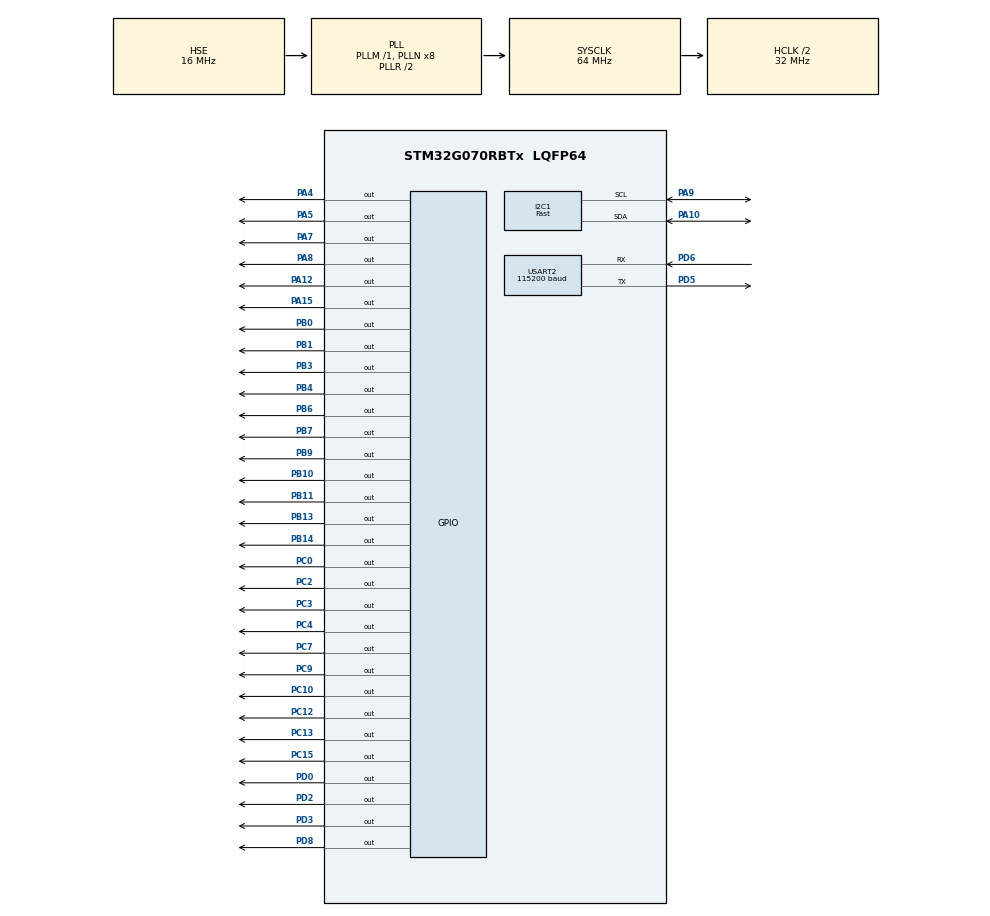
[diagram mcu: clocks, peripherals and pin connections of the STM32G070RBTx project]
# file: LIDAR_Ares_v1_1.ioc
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I2C1.I2C_Speed_Mode=I2C_Fast
I2C1.Timing=0x00300F38
Mcu.Family=STM32G0
Mcu.Name=STM32G070RBTx
Mcu.Package=LQFP64
NVIC.TIM6_IRQn=true\:0\:0\:false\:false\:true\:true\:true\:true
PA10.Mode=I2C
PA10.Signal=I2C1_SDA
PA12\ [PA10].Signal=GPIO_Output
PA15.Signal=GPIO_Output
PA4.Signal=GPIO_Output
PA5.Signal=GPIO_Output
PA7.Signal=GPIO_Output
PA8.Signal=GPIO_Output
PA9.Mode=I2C
PA9.Signal=I2C1_SCL
PB0.Signal=GPIO_Output
PB1.Signal=GPIO_Output
PB10.Signal=GPIO_Output
PB11.Signal=GPIO_Output
PB13.Signal=GPIO_Output
PB14.Signal=GPIO_Output
PB3.Signal=GPIO_Output
PB4.Signal=GPIO_Output
PB6.Signal=GPIO_Output
PB7.Signal=GPIO_Output
PB9.Signal=GPIO_Output
PC0.Signal=GPIO_Output
PC10.Signal=GPIO_Output
PC12.Signal=GPIO_Output
PC13.Signal=GPIO_Output
PC15-OSC32_OUT\ (PC15).Signal=GPIO_Output
PC2.Signal=GPIO_Output
PC3.Signal=GPIO_Output
PC4.Signal=GPIO_Output
PC7.Signal=GPIO_Output
PC9.Signal=GPIO_Output
PD0.Signal=GPIO_Output
PD2.Signal=GPIO_Output
PD3.Signal=GPIO_Output
PD5.Mode=Asynchronous
PD5.Signal=USART2_TX
PD6.Mode=Asynchronous
PD6.Signal=USART2_RX
PD8.Signal=GPIO_Output
PF0-OSC_IN\ (PF0).Mode=HSE-External-Oscillator
PF0-OSC_IN\ (PF0).Signal=RCC_OSC_IN
PF1-OSC_OUT\ (PF1).Mode=HSE-External-Oscillator
PF1-OSC_OUT\ (PF1).Signal=RCC_OSC_OUT
ProjectManager.HeapSize=0x200
ProjectManager.StackSize=0x400
ProjectManager.TargetToolchain=STM32CubeIDE
RCC.ADCFreq_Value=64000000
RCC.AHBCLKDivider=RCC_SYSCLK_DIV2
RCC.AHBFreq_Value=32000000
RCC.CortexFreq_Value=32000000
RCC.EXTERNAL_CLOCK_VALUE=48000
RCC.HCLKFreq_Value=32000000
RCC.HSE_VALUE=16000000
RCC.HSI_VALUE=16000000
RCC.LSE_VALUE=32768
RCC.PLLSourceVirtual=RCC_PLLSOURCE_HSE
RCC.SYSCLKFreq_VALUE=64000000
RCC.SYSCLKSource=RCC_SYSCLKSOURCE_PLLCLK
RCC.VCOOutputFreq_Value=128000000
TIM6.Prescaler=3999
USART2.BaudRate=115200
USART2.DMADisableonRxErrorParam=ADVFEATURE_DMA_DISABLEONRXERROR
USART2.OneBitSampling=UART_ONE_BIT_SAMPLE_DISABLE
USART2.OverrunDisableParam=ADVFEATURE_OVERRUN_DISABLE
USART2.TxPinLevelInvertParam=ADVFEATURE_TXINV_DISABLE
USART2.VirtualMode-Asynchronous=VM_ASYNC
VP_SYS_VS_DBSignals.Mode=DisableDeadBatterySignals
VP_TIM6_VS_ClockSourceINT.Mode=Enable_Timer
board=custom

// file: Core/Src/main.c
/* USER CODE BEGIN Header */
/**
  ******************************************************************************
  * @file           : main.c
  * @brief          : Main program body
  ******************************************************************************
  * @attention
  *
  * Copyright (c) 2023 STMicroelectronics.
  * All rights reserved.
  *
  * This software is licensed under terms that can be found in the LICENSE file
  * in the root directory of this software component.
  * If no LICENSE file comes with this software, it is provided AS-IS.
  *
  ******************************************************************************
  */
/* USER CODE END Header */
#include "main.h"

/* USER CODE BEGIN Includes */
//#include "platform_specific.h"
#include "stm32g0xx.h"
#include <string.h>
#include "VL53L1X_api.h"
#include "math.h"

#include "trameUart.h"
#include "testUART.h"
/* USER CODE END Includes */

 I2C_HandleTypeDef hi2c1;

TIM_HandleTypeDef htim6;

UART_HandleTypeDef huart2;

/* USER CODE BEGIN PV */
uint16_t LEDS[16]= {};

/* ----- UART variables, only useful for Serial communication ----- */

extern char Uart_RXBuffer[80];	/* Buffer for continuous RX */
#ifdef USER
extern char UartComm_RXBuffer[80];
#endif
extern int UART_Active;		/* Flag to see if UART is active */
extern int UART_Ready;		/* Flag new command available   */
extern size_t Uart_RxIndex;

/* ----- VL53L1X variables ----- */

uint16_t Dev_init = 0x52;		/* I2C address of device 1 */
float    LidarAngle[NumOfZonesPerSensor*NumOfTOFSensors];
uint16_t LidarDistance[NumOfZonesPerSensor*NumOfTOFSensors];
uint32_t TimeStamp[NumOfZonesPerSensor*NumOfTOFSensors];
//uint16_t Devs[9] = {0x62, 0x64, 0x66, 0x68, 0x6A, 0x6C, 0x6E, 0x70, 0x72};
uint16_t Devs[16] = {0x62, 0x64, 0x66, 0x68, 0x6A, 0x6C, 0x6E, 0x70, 0x72, 0x74, 0x76, 0x78, 0x7A, 0x7C, 0x7E, 0x80};
uint16_t Distance;
uint16_t SignalRate;
uint16_t SpadNb;
uint16_t AmbientRate;
uint16_t SignalPerSpad;
uint16_t AmbientPerSpad;
uint8_t RangeStatus;
uint16_t RangeCounter = 0;
#define Calibrate
/*
#ifdef Calibrate
int16_t  OffsetCal[NumOfTOFSensors*NumOfZonesPerSensor] = {
		0,0,0,0,0,0,0,0,0,0,0,0,0,
		0,0,0,0,0,0,0,0,0,0,0,0,0,
		0,0,0,0,0,0,0,0,0,0,0,0,0,
		0,0,0,0,0,0,0,0,0,0,0,0,0,
		0,0,0,0,0,0,0,0,0,0,0,0,0,
		0,0,0,0,0,0,0,0,0,0,0,0,0,
		0,0,0,0,0,0,0,0,0,0,0,0,0,
		0,0,0,0,0,0,0,0,0,0,0,0,0,
		0,0,0,0,0,0,0,0,0,0,0,0,0
		};
#else
int16_t  OffsetCal[NumOfTOFSensors * NumOfZonesPerSensor] = {
 -40, -44, -29, -24, -21, -18, -14, -15, -14, -13, -17, -22, -32,
 -28, -17, -21, -24, -11, -12, -12,  -9, -11, -26, -25, -36, -38,
 -36, -46, -26, -24, -20, -16, -17, -14, -11, -18, -17, -26, -37,
 -43, -31, -21, -25, -20,  -8, -12, -12, -13, -20, -27, -26, -38,
 -51, -41, -36, -24, -22, -21, -19, -16, -17, -22, -32, -41, -52,
 -44, -38, -26, -26, -29, -17,  -8, -11, -20, -20, -28, -34, -40,
 -50, -41, -37, -39, -23, -11, -21, -18, -20, -18, -23, -34, -48,
 -50, -41, -29, -28, -20, -16, -10, -16, -22, -25, -22, -45, -41,
 -43, -40, -25, -27, -16, -21, -14,  -9, -28, -39, -40, -46, -55
};*/
#ifdef Calibrate
int16_t  OffsetCal[NumOfTOFSensors*NumOfZonesPerSensor] = {
		0,0,0,0,0,0,0,0,0,0,0,0,0,
		0,0,0,0,0,0,0,0,0,0,0,0,0,
		0,0,0,0,0,0,0,0,0,0,0,0,0,
		0,0,0,0,0,0,0,0,0,0,0,0,0,
		0,0,0,0,0,0,0,0,0,0,0,0,0,
		0,0,0,0,0,0,0,0,0,0,0,0,0,
		0,0,0,0,0,0,0,0,0,0,0,0,0,
		0,0,0,0,0,0,0,0,0,0,0,0,0,
		0,0,0,0,0,0,0,0,0,0,0,0,0,
		0,0,0,0,0,0,0,0,0,0,0,0,0,
		0,0,0,0,0,0,0,0,0,0,0,0,0,
		0,0,0,0,0,0,0,0,0,0,0,0,0,
		0,0,0,0,0,0,0,0,0,0,0,0,0,
		0,0,0,0,0,0,0,0,0,0,0,0,0,
		0,0,0,0,0,0,0,0,0,0,0,0,0,
		0,0,0,0,0,0,0,0,0,0,0,0,0
		};
#else
int16_t  OffsetCal[NumOfTOFSensors * NumOfZonesPerSensor] = {
-40, -44, -29, -24, -21, -18, -14, -15, -14, -13, -17, -22, -32,
-28, -17, -21, -24, -11, -12, -12,  -9, -11, -26, -25, -36, -38,
-36, -46, -26, -24, -20, -16, -17, -14, -11, -18, -17, -26, -37,
-43, -31, -21, -25, -20,  -8, -12, -12, -13, -20, -27, -26, -38,
-51, -41, -36, -24, -22, -21, -19, -16, -17, -22, -32, -41, -52,
-44, -38, -26, -26, -29, -17,  -8, -11, -20, -20, -28, -34, -40,
-50, -41, -37, -39, -23, -11, -21, -18, -20, -18, -23, -34, -48,
-50, -41, -29, -28, -20, -16, -10, -16, -22, -25, -22, -45, -41,
-43, -40, -25, -27, -16, -21, -14,  -9, -28, -39, -40, -46, -55
};

#endif
uint16_t   zone_center[]={247,239,231,223,215,207,199,191,183,175,167,159,151, 247, 239, 231, 223, 215};
// Timing Budget Options:  15, 20, 33, 50, 100, 200, 500
uint16_t TimingBudget = 200;

uint16_t current_zone=0;
char BigBuff[4000];
char VL53L1X_BUFFER[60];	/* Create a buffer to get data */
char SmallBuff[17];
char FloatBuff[40];

uint16_t ActiveCaptors = 0xFFFF;
uint16_t FailedBoot = 0;
/* USER CODE END PV */

void SystemClock_Config(void);
static void MX_GPIO_Init(void);
static void MX_USART2_UART_Init(void);
static void MX_I2C1_Init(void);
static void MX_TIM6_Init(void);
/* USER CODE BEGIN PFP */
void PlotPolarData(uint8_t SensorNum, uint8_t CurrentZone, uint8_t NumOfZones, uint16_t Distance);
void TurnOnSensor(uint8_t SensorNum);
void ResetAllSensors(void);
void ResetAndInitializeAllSensors(void);
void SystemClock_Config(void);
void SendAllMesurements(void);
/* USER CODE END PFP */

/* USER CODE BEGIN 0 */
uint8_t dataRead;
void ResetAndInitializeAllSensors(void)
{
	uint8_t i,counter, Sensor, error = 0;
	uint8_t Bootstate = 0;
	int16_t Offset;
	ResetAllSensors();
	HAL_Delay(10);
	for (i = 0; i < NumOfTOFSensors; i++)
	{
		FailedBoot = i;
		TurnOnSensor(i);
		HAL_Delay(50);
		error += VL53L1X_BootState(Dev_init, &Bootstate);
		while (Bootstate != 0x03 && counter < 10)
		{
			ITM_Port32(31) = Bootstate;
			HAL_Delay(50);
			error += VL53L1X_BootState(Dev_init, &Bootstate);
			counter++;
		}
		counter = 0;
		VL53L1X_SensorInit(Dev_init);	/* Initialize sensor  */
		VL53L1X_SetI2CAddress(Dev_init, Devs[i]);	/* Change i2c address Left is now 0x62 and Dev1 */
		dataRead = ReadRegister8(Devs[i], 0x10f);
		dataRead = ReadRegister8(Devs[i], 0x110);
	}
	UART_Print("All Chips booted\n");

	for (Sensor = 0; Sensor < NumOfTOFSensors; Sensor++)
	{
		VL53L1X_SetDistanceMode(Devs[Sensor], 1);
		VL53L1X_SetTimingBudgetInMs(Devs[Sensor], TimingBudget);
		VL53L1X_SetInterMeasurementInMs(Devs[Sensor], TimingBudget);
		VL53L1X_SetROI(Devs[Sensor], WidthOfSPADsPerZone, 6);
		WriteRegister8(Devs[Sensor], ROI_CONFIG__USER_ROI_CENTRE_SPAD, zone_center[0] - 0);
		error = VL53L1X_GetOffset(Devs[Sensor], &Offset);
		VL53L1X_SetOffset(Devs[Sensor], Offset + 40);
	}
	for (Sensor = 0; Sensor < NumOfTOFSensors; Sensor++)
	{
		if((ActiveCaptors>>Sensor)&1){
			VL53L1X_StartRanging(Devs[Sensor]);
		}
		HAL_Delay(1);
	}
	if (ActiveCaptors != 0xFFFF)
	{
		UART_Print("Not all captors were initialized\r\n");
	}

}

float OldAngle;
double SystemAngle;
void PlotPolarData(uint8_t SensorNum, uint8_t CurrentZone, uint8_t NumOfZones, uint16_t Distance)
{
	double PartZoneAngle;

	float CorrectedDistance = 0;

	if (Distance > 60000)
	{
		Distance = 0;
	}
	PartZoneAngle = (StartingZoneAngle + ZoneFOVChangePerStep*CurrentZone) - (HorizontalFOVofSensor / 2.0);
	SystemAngle = -80 + 20.0*SensorNum + PartZoneAngle;
	CorrectedDistance = pow(pow(RadarCircleRadius,2) + pow(Distance, 2) - (2 * RadarCircleRadius * Distance * cos((180 - PartZoneAngle)/(180) * Pi)), 0.5);
	if (CorrectedDistance < 55)
	{
		CorrectedDistance = 55;
	}
	LidarAngle[SensorNum*13+CurrentZone] = SystemAngle;
	LidarDistance[SensorNum*13+CurrentZone] = (uint16_t)CorrectedDistance;
}

void TurnOnSensor(uint8_t SensorNum)
{
	switch (SensorNum)
	{
		case 0:
			// GPIO PC2
			HAL_GPIO_WritePin(GPIOC, GPIO_PIN_2, GPIO_PIN_SET);
			break;
		case 1:
			// GPIO PC15
			HAL_GPIO_WritePin(GPIOC, GPIO_PIN_15, GPIO_PIN_SET);
			break;
		case 2:
			// GPIO PC12
			HAL_GPIO_WritePin(GPIOC, GPIO_PIN_12, GPIO_PIN_SET);
			break;
		case 3:
			// GPIO PB9
			HAL_GPIO_WritePin(GPIOB, GPIO_PIN_9, GPIO_PIN_SET);
			break;
		case 4:
			// GPIO PB6
			HAL_GPIO_WritePin(GPIOB, GPIO_PIN_6, GPIO_PIN_SET);
			break;
		case 5:
			// GPIO PB3
			HAL_GPIO_WritePin(GPIOB, GPIO_PIN_3, GPIO_PIN_SET);
			break;
		case 6:
			// GPIO PD2
			HAL_GPIO_WritePin(GPIOD, GPIO_PIN_2, GPIO_PIN_SET);
			break;
		case 7:
			// GPIO PC9
			HAL_GPIO_WritePin(GPIOC, GPIO_PIN_9, GPIO_PIN_SET);
			break;
		case 8:
			// GPIO PA12
			HAL_GPIO_WritePin(GPIOA, GPIO_PIN_12, GPIO_PIN_SET);
			break;
		case 9:
			// GPIO PC7
			HAL_GPIO_WritePin(GPIOC, GPIO_PIN_7, GPIO_PIN_SET);
			break;
		case 10:
			// GPIO PA8
			HAL_GPIO_WritePin(GPIOA, GPIO_PIN_8, GPIO_PIN_SET);
			break;
		case 11:
			// GPIO PB13
			HAL_GPIO_WritePin(GPIOB, GPIO_PIN_13, GPIO_PIN_SET);
			break;
		case 12:
			// GPIO PB10
			HAL_GPIO_WritePin(GPIOB, GPIO_PIN_10, GPIO_PIN_SET);
			break;
		case 13:
			// GPIO PB0
			HAL_GPIO_WritePin(GPIOB, GPIO_PIN_0, GPIO_PIN_SET);
			break;
		case 14:
			// GPIO PA7
			HAL_GPIO_WritePin(GPIOA, GPIO_PIN_7, GPIO_PIN_SET);
			break;
		case 15:
			// GPIO PA4
			HAL_GPIO_WritePin(GPIOA, GPIO_PIN_4, GPIO_PIN_SET);
			break;

	}
}

void ResetAllSensors(void)
{
	HAL_GPIO_WritePin(GPIOC, GPIO_PIN_2, GPIO_PIN_RESET);  // Capt 0
	HAL_GPIO_WritePin(GPIOC, GPIO_PIN_15, GPIO_PIN_RESET); // Capt 1
	HAL_GPIO_WritePin(GPIOB, GPIO_PIN_0, GPIO_PIN_RESET);  // Capt 2
	HAL_GPIO_WritePin(GPIOB, GPIO_PIN_9, GPIO_PIN_RESET);  // Capt 3

	HAL_GPIO_WritePin(GPIOB, GPIO_PIN_6, GPIO_PIN_RESET);  // Capt 4
	HAL_GPIO_WritePin(GPIOB, GPIO_PIN_3, GPIO_PIN_RESET);  // Capt 5
	HAL_GPIO_WritePin(GPIOD, GPIO_PIN_2, GPIO_PIN_RESET);  // Capt 6
	HAL_GPIO_WritePin(GPIOC, GPIO_PIN_9, GPIO_PIN_RESET);  // Capt 7

	HAL_GPIO_WritePin(GPIOA, GPIO_PIN_12, GPIO_PIN_RESET); // Capt 8
	HAL_GPIO_WritePin(GPIOC, GPIO_PIN_7, GPIO_PIN_RESET);  // Capt 9
	HAL_GPIO_WritePin(GPIOA, GPIO_PIN_8, GPIO_PIN_RESET);  // Capt 10
	HAL_GPIO_WritePin(GPIOB, GPIO_PIN_13, GPIO_PIN_RESET); // Capt 11

	HAL_GPIO_WritePin(GPIOB, GPIO_PIN_10, GPIO_PIN_RESET); // Capt 12
	HAL_GPIO_WritePin(GPIOB, GPIO_PIN_0, GPIO_PIN_RESET);  // Capt 13
	HAL_GPIO_WritePin(GPIOA, GPIO_PIN_7, GPIO_PIN_RESET);  // Capt 14
	HAL_GPIO_WritePin(GPIOA, GPIO_PIN_4, GPIO_PIN_RESET);  // Capt 15
}

void SendAllMesurements(void){
	UART_Send_Mesures(LidarDistance );

	/*
	for(uint16_t x=0; x <NumOfZonesPerSensor*NumOfTOFSensors; x++){
		snprintf(FloatBuff, sizeof(FloatBuff), "%f", LidarAngle[x]);
		snprintf(SmallBuff, sizeof(SmallBuff), " ; %d", LidarDistance[x]);
		snprintf(BigBuff, sizeof(BigBuff), " ; %ld\n\r", TimeStamp[x]);
		UART_Print(FloatBuff);
		UART_Print(SmallBuff);
		UART_Print(BigBuff);

	}*/
	setInactiveCaptors(0);
	setActiveCaptors(1);
}

/* USER CODE END 0 */

int main(void)
{
  /* USER CODE BEGIN 1 */
	VL53L1X_ERROR error = 0;
	uint32_t i=0;
	uint8_t Zone, Sensor, Timeout;

	uint32_t TimeStart, TimeEnd, TotalTime, CurrentTime;
	uint8_t Sensorcheck;
  /* USER CODE END 1 */

  /* MCU Configuration--------------------------------------------------------*/

  /* Reset of all peripherals, Initializes the Flash interface and the Systick. */
  HAL_Init();

  /* Configure the system clock */
  SystemClock_Config();

  /* Initialize all configured peripherals */
  MX_GPIO_Init();
  MX_USART2_UART_Init();
  MX_I2C1_Init();
  MX_TIM6_Init();
  /* USER CODE BEGIN 2 */
  ResetAndInitializeAllSensors();
  LEDs_init();
  HAL_TIM_Base_Start_IT(&htim6);
/*
  tests();
  LEDs_init();
  while(1){

  }*/
  /* USER CODE END 2 */

  /* Infinite loop */
  while (1)
  {

    /* USER CODE BEGIN 3 */
	  	error = 0;
		TimeStart = HAL_GetTick();
		Timeout = 0;
		for(Zone = 0; Zone < NumOfZonesPerSensor; Zone++)
		{
			for (Sensor=0; Sensor < NumOfTOFSensors ; Sensor++)
			{
				if((ActiveCaptors>>Sensor)&1)
					WriteRegister8(Devs[Sensor], ROI_CONFIG__USER_ROI_CENTRE_SPAD, zone_center[Zone+1] - 0);
			}
			i=i+1;
			for (Sensor=0; Sensor < NumOfTOFSensors ; Sensor++)
			{
				if((ActiveCaptors>>Sensor)&1){
					error = VL53L1X_CheckForDataReady(Devs[Sensor], &Sensorcheck);
					while ((Sensorcheck == 0) && (Timeout == 0))
					{
						HAL_Delay(1);
						CurrentTime = HAL_GetTick();
						if (CurrentTime > (TimeStart + (NumOfZonesPerSensor + 1) * TimingBudget * 2))
						{
							Timeout = 1;
							Sensor = NumOfTOFSensors;
							Zone = NumOfZonesPerSensor;
						}
						else
						{
							error += VL53L1X_CheckForDataReady(Devs[Sensor], &Sensorcheck);
						}
					}

				if (Timeout == 0)
				{
					WriteRegister8(Devs[Sensor], ROI_CONFIG__USER_ROI_CENTRE_SPAD, zone_center[Zone+1] - 0);
					TimeStamp[Sensor*13+ Zone] = HAL_GetTick();
					VL53L1X_ClearInterrupt(Devs[Sensor]);

					error += VL53L1X_GetDistance(Devs[Sensor], &Distance);
					error += VL53L1X_GetRangeStatus(Devs[Sensor], &RangeStatus);
					if ((RangeStatus== 0) || (RangeStatus == 7))
					{
						if (Distance > 60000)
						{
							Distance = 0;
							PlotPolarData(Sensor, Zone, 13, 0);
						}
						else
						{
							Distance = Distance + OffsetCal[Sensor*13 + Zone];
							if (Distance > 60000)
							{
								Distance = 0;
							}
							PlotPolarData(Sensor, Zone, 13, Distance);
						}
					}
					else
					{
						PlotPolarData(Sensor, Zone, 13, 4000);
					}
				}
				}
			}
			toggleInactiveCaptors();
		}
		if (Timeout == 1)
		{
			ResetAndInitializeAllSensors();
			Timeout = 0;
			//UART_Print("Reset Performed\n");
		}
		else
		{
			HAL_Delay(TimingBudget);
			TimeEnd = HAL_GetTick();;
			TotalTime = (TimeEnd - TimeStart);
			snprintf(BigBuff, sizeof(BigBuff), "Time: %ld\n", TotalTime);
			//UART_Print(BigBuff);
			SendAllMesurements();
		}
		if (error !=0)
		{
			UART_Print("Some Errors seen\n");
		}
	}
  /* USER CODE END 3 */
}

void SystemClock_Config(void)
{
  RCC_OscInitTypeDef RCC_OscInitStruct = {0};
  RCC_ClkInitTypeDef RCC_ClkInitStruct = {0};

  /** Configure the main internal regulator output voltage
  */
  HAL_PWREx_ControlVoltageScaling(PWR_REGULATOR_VOLTAGE_SCALE1);

  /** Initializes the RCC Oscillators according to the specified parameters
  * in the RCC_OscInitTypeDef structure.
  */
  RCC_OscInitStruct.OscillatorType = RCC_OSCILLATORTYPE_HSE;
  RCC_OscInitStruct.HSEState = RCC_HSE_ON;
  RCC_OscInitStruct.PLL.PLLState = RCC_PLL_ON;
  RCC_OscInitStruct.PLL.PLLSource = RCC_PLLSOURCE_HSE;
  RCC_OscInitStruct.PLL.PLLM = RCC_PLLM_DIV1;
  RCC_OscInitStruct.PLL.PLLN = 8;
  RCC_OscInitStruct.PLL.PLLP = RCC_PLLP_DIV2;
  RCC_OscInitStruct.PLL.PLLR = RCC_PLLR_DIV2;
  if (HAL_RCC_OscConfig(&RCC_OscInitStruct) != HAL_OK)
  {
    Error_Handler();
  }

  /** Initializes the CPU, AHB and APB buses clocks
  */
  RCC_ClkInitStruct.ClockType = RCC_CLOCKTYPE_HCLK|RCC_CLOCKTYPE_SYSCLK
                              |RCC_CLOCKTYPE_PCLK1;
  RCC_ClkInitStruct.SYSCLKSource = RCC_SYSCLKSOURCE_PLLCLK;
  RCC_ClkInitStruct.AHBCLKDivider = RCC_SYSCLK_DIV2;
  RCC_ClkInitStruct.APB1CLKDivider = RCC_HCLK_DIV1;

  if (HAL_RCC_ClockConfig(&RCC_ClkInitStruct, FLASH_LATENCY_1) != HAL_OK)
  {
    Error_Handler();
  }
}

static void MX_I2C1_Init(void)
{

  hi2c1.Instance = I2C1;
  hi2c1.Init.Timing = 0x00300F38;
  hi2c1.Init.OwnAddress1 = 0;
  hi2c1.Init.AddressingMode = I2C_ADDRESSINGMODE_7BIT;
  hi2c1.Init.DualAddressMode = I2C_DUALADDRESS_DISABLE;
  hi2c1.Init.OwnAddress2 = 0;
  hi2c1.Init.OwnAddress2Masks = I2C_OA2_NOMASK;
  hi2c1.Init.GeneralCallMode = I2C_GENERALCALL_DISABLE;
  hi2c1.Init.NoStretchMode = I2C_NOSTRETCH_DISABLE;
  if (HAL_I2C_Init(&hi2c1) != HAL_OK)
  {
    Error_Handler();
  }

  /** Configure Analogue filter
  */
  if (HAL_I2CEx_ConfigAnalogFilter(&hi2c1, I2C_ANALOGFILTER_ENABLE) != HAL_OK)
  {
    Error_Handler();
  }

  /** Configure Digital filter
  */
  if (HAL_I2CEx_ConfigDigitalFilter(&hi2c1, 0) != HAL_OK)
  {
    Error_Handler();
  }
  /* USER CODE BEGIN I2C1_Init 2 */
  I2C_Init();
  /* USER CODE END I2C1_Init 2 */

}

static void MX_TIM6_Init(void)
{

  TIM_MasterConfigTypeDef sMasterConfig = {0};

  htim6.Instance = TIM6;
  htim6.Init.Prescaler = 3999;
  htim6.Init.CounterMode = TIM_COUNTERMODE_UP;
  htim6.Init.Period = 65535;
  htim6.Init.AutoReloadPreload = TIM_AUTORELOAD_PRELOAD_DISABLE;
  if (HAL_TIM_Base_Init(&htim6) != HAL_OK)
  {
    Error_Handler();
  }
  sMasterConfig.MasterOutputTrigger = TIM_TRGO_RESET;
  sMasterConfig.MasterSlaveMode = TIM_MASTERSLAVEMODE_DISABLE;
  if (HAL_TIMEx_MasterConfigSynchronization(&htim6, &sMasterConfig) != HAL_OK)
  {
    Error_Handler();
  }

}

static void MX_USART2_UART_Init(void)
{

  huart2.Instance = USART2;
  huart2.Init.BaudRate = 115200;
  huart2.Init.WordLength = UART_WORDLENGTH_8B;
  huart2.Init.StopBits = UART_STOPBITS_1;
  huart2.Init.Parity = UART_PARITY_NONE;
  huart2.Init.Mode = UART_MODE_TX_RX;
  huart2.Init.HwFlowCtl = UART_HWCONTROL_NONE;
  huart2.Init.OverSampling = UART_OVERSAMPLING_16;
  huart2.Init.OneBitSampling = UART_ONE_BIT_SAMPLE_DISABLE;
  huart2.Init.ClockPrescaler = UART_PRESCALER_DIV1;
  huart2.AdvancedInit.AdvFeatureInit = UART_ADVFEATURE_RXOVERRUNDISABLE_INIT|UART_ADVFEATURE_DMADISABLEONERROR_INIT;
  huart2.AdvancedInit.OverrunDisable = UART_ADVFEATURE_OVERRUN_DISABLE;
  huart2.AdvancedInit.DMADisableonRxError = UART_ADVFEATURE_DMA_DISABLEONRXERROR;
  if (HAL_UART_Init(&huart2) != HAL_OK)
  {
    Error_Handler();
  }
  if (HAL_UARTEx_SetTxFifoThreshold(&huart2, UART_TXFIFO_THRESHOLD_1_8) != HAL_OK)
  {
    Error_Handler();
  }
  if (HAL_UARTEx_SetRxFifoThreshold(&huart2, UART_RXFIFO_THRESHOLD_1_8) != HAL_OK)
  {
    Error_Handler();
  }
  if (HAL_UARTEx_DisableFifoMode(&huart2) != HAL_OK)
  {
    Error_Handler();
  }
  /* USER CODE BEGIN USART2_Init 2 */
  UART_Init();
  /* USER CODE END USART2_Init 2 */

}

static void MX_GPIO_Init(void)
{
  GPIO_InitTypeDef GPIO_InitStruct = {0};

  /* GPIO Ports Clock Enable */
  __HAL_RCC_GPIOC_CLK_ENABLE();
  __HAL_RCC_GPIOF_CLK_ENABLE();
  __HAL_RCC_GPIOA_CLK_ENABLE();
  __HAL_RCC_GPIOB_CLK_ENABLE();
  __HAL_RCC_GPIOD_CLK_ENABLE();

  /*Configure GPIO pin Output Level */
  HAL_GPIO_WritePin(GPIOC, GPIO_PIN_12|GPIO_PIN_13|GPIO_PIN_15|GPIO_PIN_0
                          |GPIO_PIN_2|GPIO_PIN_3|GPIO_PIN_4|GPIO_PIN_7
                          |GPIO_PIN_9|GPIO_PIN_10, GPIO_PIN_RESET);

  /*Configure GPIO pin Output Level */
  HAL_GPIO_WritePin(GPIOA, GPIO_PIN_4|GPIO_PIN_5|GPIO_PIN_7|GPIO_PIN_8
                          |GPIO_PIN_12|GPIO_PIN_15, GPIO_PIN_RESET);

  /*Configure GPIO pin Output Level */
  HAL_GPIO_WritePin(GPIOB, GPIO_PIN_0|GPIO_PIN_1|GPIO_PIN_10|GPIO_PIN_11
                          |GPIO_PIN_13|GPIO_PIN_14|GPIO_PIN_3|GPIO_PIN_4
                          |GPIO_PIN_6|GPIO_PIN_7|GPIO_PIN_9, GPIO_PIN_RESET);

  /*Configure GPIO pin Output Level */
  HAL_GPIO_WritePin(GPIOD, GPIO_PIN_8|GPIO_PIN_0|GPIO_PIN_2|GPIO_PIN_3, GPIO_PIN_RESET);

  /*Configure GPIO pins : PC12 PC13 PC15 PC0
                           PC2 PC3 PC4 PC7
                           PC9 PC10 */
  GPIO_InitStruct.Pin = GPIO_PIN_12|GPIO_PIN_13|GPIO_PIN_15|GPIO_PIN_0
                          |GPIO_PIN_2|GPIO_PIN_3|GPIO_PIN_4|GPIO_PIN_7
                          |GPIO_PIN_9|GPIO_PIN_10;
  GPIO_InitStruct.Mode = GPIO_MODE_OUTPUT_PP;
  GPIO_InitStruct.Pull = GPIO_NOPULL;
  GPIO_InitStruct.Speed = GPIO_SPEED_FREQ_LOW;
  HAL_GPIO_Init(GPIOC, &GPIO_InitStruct);

  /*Configure GPIO pins : PA4 PA5 PA7 PA8
                           PA12 PA15 */
  GPIO_InitStruct.Pin = GPIO_PIN_4|GPIO_PIN_5|GPIO_PIN_7|GPIO_PIN_8
                          |GPIO_PIN_12|GPIO_PIN_15;
  GPIO_InitStruct.Mode = GPIO_MODE_OUTPUT_PP;
  GPIO_InitStruct.Pull = GPIO_NOPULL;
  GPIO_InitStruct.Speed = GPIO_SPEED_FREQ_LOW;
  HAL_GPIO_Init(GPIOA, &GPIO_InitStruct);

  /*Configure GPIO pins : PB0 PB1 PB10 PB11
                           PB13 PB14 PB3 PB4
                           PB6 PB7 PB9 */
  GPIO_InitStruct.Pin = GPIO_PIN_0|GPIO_PIN_1|GPIO_PIN_10|GPIO_PIN_11
                          |GPIO_PIN_13|GPIO_PIN_14|GPIO_PIN_3|GPIO_PIN_4
                          |GPIO_PIN_6|GPIO_PIN_7|GPIO_PIN_9;
  GPIO_InitStruct.Mode = GPIO_MODE_OUTPUT_PP;
  GPIO_InitStruct.Pull = GPIO_NOPULL;
  GPIO_InitStruct.Speed = GPIO_SPEED_FREQ_LOW;
  HAL_GPIO_Init(GPIOB, &GPIO_InitStruct);

  /*Configure GPIO pins : PD8 PD0 PD2 PD3 */
  GPIO_InitStruct.Pin = GPIO_PIN_8|GPIO_PIN_0|GPIO_PIN_2|GPIO_PIN_3;
  GPIO_InitStruct.Mode = GPIO_MODE_OUTPUT_PP;
  GPIO_InitStruct.Pull = GPIO_NOPULL;
  GPIO_InitStruct.Speed = GPIO_SPEED_FREQ_LOW;
  HAL_GPIO_Init(GPIOD, &GPIO_InitStruct);

}

void Error_Handler(void)
{
  __disable_irq();
  while (1)
  {
  }
}
